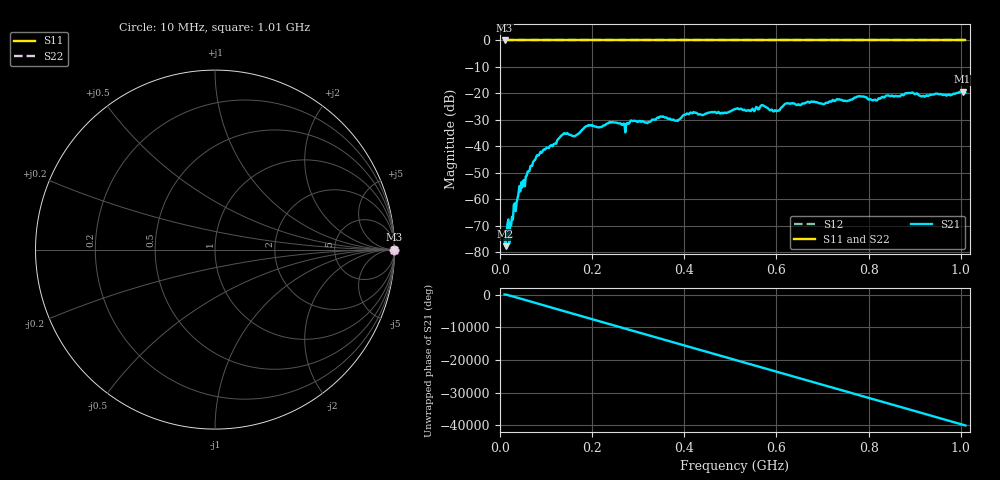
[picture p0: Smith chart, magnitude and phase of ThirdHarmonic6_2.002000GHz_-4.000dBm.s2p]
! 8/17/2025 12:02:55 AM
! C:\ANRITSUVNA\TEMP\TEMP.S2P
! CHANNEL.1
! TR.MEASUREMENT
! RAW.DATA
! RF.CORRECTION.OFF
! AVERAGING.OFF
! IF.BANDWIDTH: 5KHZ
! SWEEPTYPE:  FREQ.SWEEP(Linear)
! Reference Plane Port Info
! PORT:  PORT1  PORT2
! DISTANCE:  0  m  0  m
! TIME:  0  s  0  s
! PHASE.OFFSET:  0  deg.  0  deg.
! LOSS:  0  dB  0  dB
! REF.LOSS:  0  dB  0  dB
! REF.FREQ:  0  Hz  0  Hz
! Power Info
! POWER:  -20  dBm  -20  dBm
! EFF.POWER:  -20  dBm  -20  dBm
! SOURCE.ATTEN:  0  dB  0  dB
! TEST.ATTEN:  0  dB  0  dB
# GHZ S RI R 50.0
! FREQ.GHZ  S11RE  S11IM  S21RE  S21IM  S12RE  S12IM  S22RE  S22IM
!; PortSelection: Port_12
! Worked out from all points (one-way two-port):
!   501 points, 10 MHz to 1.01 GHz, reference 50 ohm
!   highest |S21| = -19.31 dB at 1.004 GHz (marker M1); lowest = -77.7 dB at 12 MHz (marker M2)
!   lowest |S11| = 0.0 dB at 10 MHz (marker M3)
!   |S11| at or under -10 dB: nowhere
!   |S22| runs from 0.0 to 0.0 dB; largest |S21 - S12| = 1.1
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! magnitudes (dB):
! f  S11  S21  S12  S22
! 10 MHz  0.0  -75.3  0.0  0.0
! 12 MHz  0.0  -77.7  0.0  0.0
! 24 MHz  0.0  -69.9  0.0  0.0
! 28 MHz  0.0  -67.6  0.0  0.0
! 46 MHz  0.0  -53.6  0.0  0.0
! 78 MHz  0.0  -44.3  0.0  0.0
! 136 MHz  0.0  -35.5  0.0  0.0
! 162 MHz  0.0  -36.2  0.0  0.0
! 178 MHz  0.0  -33.8  0.0  0.0
! 192 MHz  0.0  -32.0  0.0  0.0
! 268 MHz  0.0  -31.4  0.0  0.0
! 344 MHz  0.0  -29.3  0.0  0.0
! 382 MHz  0.0  -30.3  0.0  0.0
! 416 MHz  0.0  -27.5  0.0  0.0
! 510 MHz  0.0  -25.9  0.0  0.0
! 570 MHz  0.0  -24.4  0.0  0.0
! 602 MHz  0.0  -26.5  0.0  0.0
! 622 MHz  0.0  -23.7  0.0  0.0
! 678 MHz  0.0  -23.2  0.0  0.0
! 844 MHz  0.0  -20.8  0.0  0.0
! 1.004 GHz  0.0  -19.3  0.0  0.0
! 1.01 GHz  0.0  -19.9  0.0  0.0
